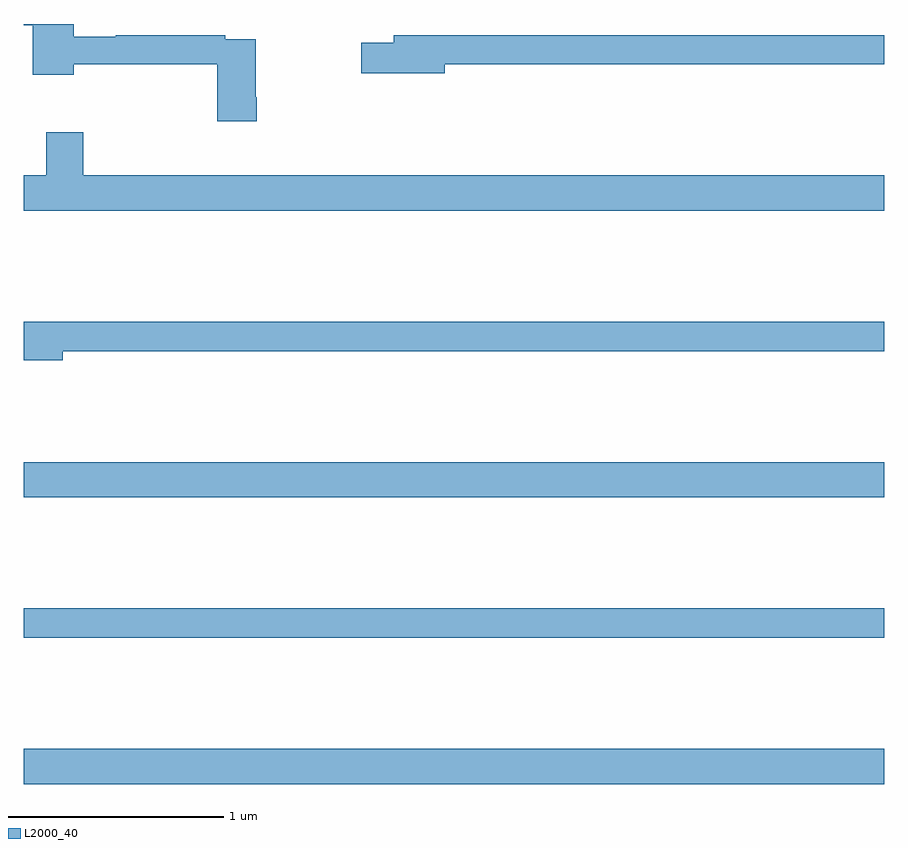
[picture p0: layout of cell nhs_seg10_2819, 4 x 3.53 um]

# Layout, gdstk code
import gdstk
lib = gdstk.Library(unit=1e-6, precision=1e-09)
def R(c, l, rs):  # rectangles x0, y0, x1, y1
    for r in rs: c.add(gdstk.rectangle(r[:2], r[2:], *l))
def P(c, l, *ps):  # polygons
    for p in ps: c.add(gdstk.Polygon(p, *l))
L2000_40 = (2000, 40)

nhs_seg10_2819 = lib.new_cell('nhs_seg10_2819')
R(nhs_seg10_2819, L2000_40, [(263,1314.968,267,1315.132), (263,1315.648,267,1315.784), (263,1316.3,267,1316.464)])
P(nhs_seg10_2819, L2000_40, [(264.083,1318.159),(264.078,1318.159),(264.078,1318.428),(263.936,1318.428),(263.936,1318.448),(263.429,1318.448),(263.429,1318.441),(263.233,1318.441),(263.233,1318.5),(263,1318.5),(263,1318.494),(263.042,1318.494),(263.042,1318.265),(263.233,1318.265),(263.233,1318.312),(263.9,1318.312),(263.9,1318.047),(264.083,1318.047)],
  [(264.958,1318.312),(267,1318.312),(267,1318.448),(264.719,1318.448),(264.719,1318.412),(264.57,1318.412),(264.57,1318.27),(264.958,1318.27)],
  [(267,1317.796),(263.276,1317.796),(263.276,1317.997),(263.104,1317.997),(263.104,1317.796),(263,1317.796),(263,1317.632),(267,1317.632)],
  [(263.182,1316.98),(267,1316.98),(267,1317.116),(263,1317.116),(263,1316.938),(263.182,1316.938)])

lib.write_gds('nhs_seg10_2819.gds')
